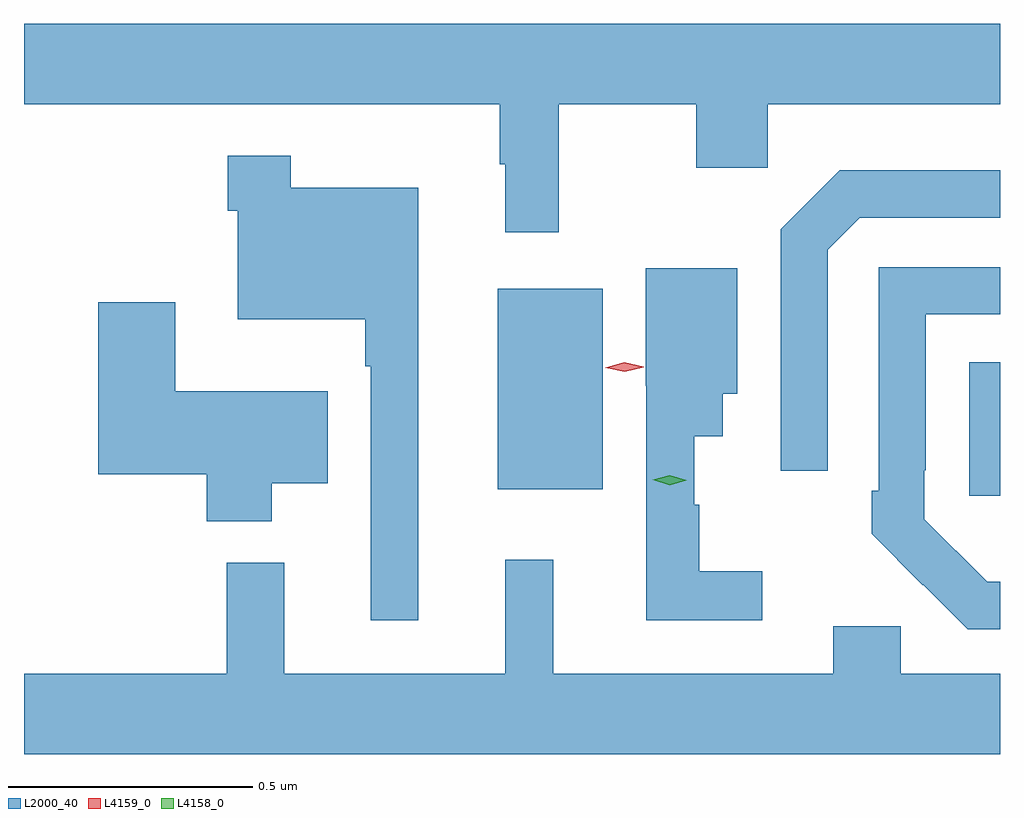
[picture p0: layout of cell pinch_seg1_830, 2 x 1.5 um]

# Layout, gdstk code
import gdstk
lib = gdstk.Library(unit=1e-6, precision=1e-09)
def R(c, l, rs):  # rectangles x0, y0, x1, y1
    for r in rs: c.add(gdstk.rectangle(r[:2], r[2:], *l))
def P(c, l, *ps):  # polygons
    for p in ps: c.add(gdstk.Polygon(p, *l))
L2000_40 = (2000, 40)
L4158_0 = (4158, 0)
L4159_0 = (4159, 0)

pinch_seg1_830 = lib.new_cell('pinch_seg1_830')
R(pinch_seg1_830, L2000_40, [(423.983,561.585,424.046,561.859), (423.017,561.599,423.232,562.009)])
P(pinch_seg1_830, L2000_40, [(423.142,562.388),(423.424,562.388),(423.424,562.257),(423.57,562.257),(423.57,562.388),(424.046,562.388),(424.046,562.552),(422.046,562.552),(422.046,562.388),(423.021,562.388),(423.021,562.265),(423.032,562.265),(423.032,562.125),(423.142,562.125)],
  [(422.854,562.216),(422.593,562.216),(422.593,562.282),(422.464,562.282),(422.464,562.169),(422.484,562.169),(422.484,561.947),(422.745,561.947),(422.745,561.851),(422.757,561.851),(422.757,561.33),(422.854,561.33)],
  [(423.693,562.089),(423.759,562.155),(424.046,562.155),(424.046,562.252),(423.718,562.252),(423.597,562.131),(423.597,561.636),(423.693,561.636)],
  [(424.046,561.409),(424.02,561.409),(423.891,561.537),(423.891,561.637),(423.894,561.637),(423.894,561.957),(424.046,561.957),(424.046,562.053),(423.798,562.053),(423.798,561.595),(423.783,561.595),(423.783,561.507),(423.888,561.402),(423.889,561.403),(423.98,561.312),(424.046,561.312)],
  [(423.559,561.431),(423.43,561.431),(423.43,561.567),(423.419,561.567),(423.419,561.707),(423.478,561.707),(423.478,561.794),(423.508,561.794),(423.508,562.051),(423.32,562.051),(423.32,561.811),(423.321,561.811),(423.321,561.33),(423.559,561.33)],
  [(422.554,561.611),(422.668,561.611),(422.668,561.799),(422.356,561.799),(422.356,561.982),(422.198,561.982),(422.198,561.629),(422.42,561.629),(422.42,561.533),(422.554,561.533)],
  [(424.046,561.22),(423.843,561.22),(423.843,561.318),(423.704,561.318),(423.704,561.22),(423.131,561.22),(423.131,561.454),(423.032,561.454),(423.032,561.22),(422.579,561.22),(422.579,561.448),(422.461,561.448),(422.461,561.22),(422.046,561.22),(422.046,561.056),(424.046,561.056)])
P(pinch_seg1_830, L4158_0, [(423.369,561.607),(423.334,561.618),(423.334,561.618),(423.334,561.618),(423.369,561.627),(423.404,561.617),(423.404,561.617),(423.404,561.617)])
P(pinch_seg1_830, L4159_0, [(423.277,561.839),(423.237,561.848),(423.237,561.848),(423.237,561.848),(423.276,561.859),(423.316,561.85),(423.316,561.849),(423.316,561.849)])

lib.write_gds('pinch_seg1_830.gds')
